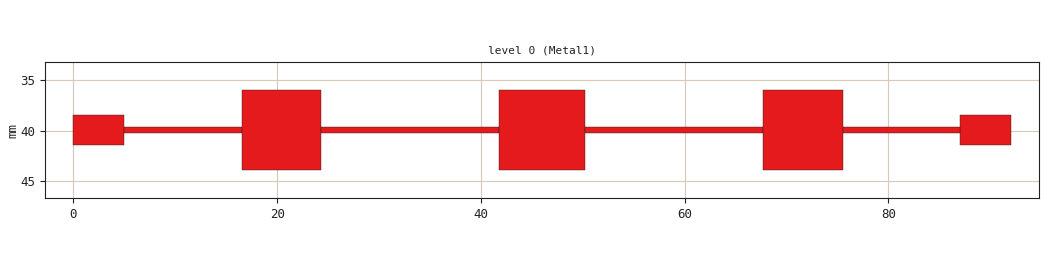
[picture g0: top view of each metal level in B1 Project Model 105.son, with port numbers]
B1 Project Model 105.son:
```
FTYP SONPROJ 19 ! Sonnet Project File
VER 18.53
HEADER
LIC SL65aa19a0
DAT 04/10/2024 18:52:45
BUILT_BY_CREATED xgeom 18.53-Lite 02/16/2024 14:25:27
BUILT_BY_SAVED sonnet 18.53-Lite
MDATE 04/10/2024 16:14:16
HDATE 04/10/2024 16:14:16
END HEADER
DIM
ANG DEG
CAP PF
CON /OH
FREQ GHZ
IND NH
LNG MM
RES OH
END DIM
CONTROL
VARSWP
OPTIONS  -d
SPEED 0
CACHE_ABS 2
Q_ACC N
END CONTROL
GEO
TMET "Lossless" 0 SUP 0 0 0 0
BMET "Lossless" 0 SUP 0 0 0 0
BOX 1 92 80 1840 1600 20 0
      0 1 1 0 0 0 0 "Air"
      0 1 1 0 0 0 0 "Substrate"
TECHLAY METAL Metal1 <UNSPECIFIED> -2 -65534 
0 0 -1 N 102 1 1 100 100 0 0 0 Y
END
END
LORGN 0 40 U 
NUM 9
0 5 -1 N 84 1 1 100 100 0 0 0 Y
TLAYNAM Metal1 INH
5.551115123e-16 38.5
5 38.5
5 41.4
5.551115123e-16 41.4
5.551115123e-16 38.5
END
0 5 -1 N 93 1 1 100 100 0 0 0 Y
TLAYNAM Metal1 INH
87 38.5
92 38.5
92 41.4
87 41.4
87 38.5
END
0 5 -1 N 166 1 1 100 100 0 0 0 Y
TLAYNAM Metal1 INH
5 39.7
16.5 39.7
16.5 40.2
5 40.2
5 39.7
END
0 5 -1 N 167 1 1 100 100 0 0 0 Y
TLAYNAM Metal1 INH
16.5 36
24.3 36
24.3 43.9
16.5 43.9
16.5 36
END
0 5 -1 N 169 1 1 100 100 0 0 0 Y
TLAYNAM Metal1 INH
24.3 39.7
41.8 39.7
41.8 40.2
24.3 40.2
24.3 39.7
END
0 5 -1 N 170 1 1 100 100 0 0 0 Y
TLAYNAM Metal1 INH
41.8 36
50.2 36
50.2 43.9
41.8 43.9
41.8 36
END
0 5 -1 N 171 1 1 100 100 0 0 0 Y
TLAYNAM Metal1 INH
50.2 39.7
67.7 39.7
67.7 40.2
50.2 40.2
50.2 39.7
END
0 5 -1 N 172 1 1 100 100 0 0 0 Y
TLAYNAM Metal1 INH
67.7 36
75.5 36
75.5 43.9
67.7 43.9
67.7 36
END
0 5 -1 N 173 1 1 100 100 0 0 0 Y
TLAYNAM Metal1 INH
75.5 39.7
87 39.7
87 40.2
75.5 40.2
75.5 39.7
END
END GEO
OPT
MAX 100
END OPT
VARSWP
ENABLED Y
FREQ Y AY ABS_ENTRY UNK 
END
END VARSWP
TRANSLATOR
DXFEXPORT
UseTLs true
SepObj true
SepMat true
DivideMulti false
Circles false
CircleType inscribed
CircleSize 0
KeepMetals true
KeepVias true
KeepViaPads true
KeepBricks true
KeepEdgeVias true
KeepParent true
ConvertParent false
AllEdgeViasAsVia false
END
END TRANSLATOR
```
